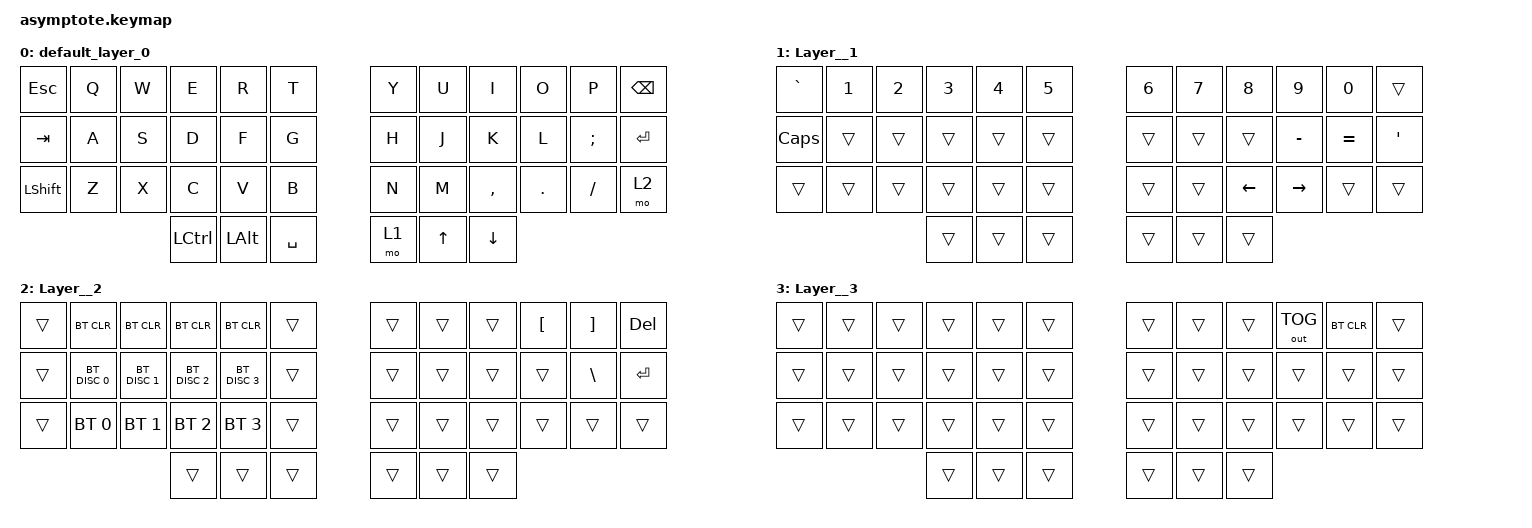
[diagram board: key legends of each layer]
/*
 * Copyright (c) 2020 The ZMK Contributors
 *
 * SPDX-License-Identifier: MIT
 */

#include <behaviors.dtsi>
#include <dt-bindings/zmk/keys.h>
#include <dt-bindings/zmk/bt.h>
#include <dt-bindings/zmk/outputs.h>

&mt {
    tapping-term-ms = <200>;
};

&lt {
    quick-tap-ms = <400>;
};

/ {
    combos {
        compatible = "zmk,combos";

        combo_LLGUI {
            timeout-ms = <50>;
            key-positions = <36 37>;
            bindings = <&kp LGUI>;
        };

        combo_RLGUI {
            timeout-ms = <50>;
            key-positions = <40 41>;
            bindings = <&kp LGUI>;
        };
    };
};

/ {
    keymap {
        compatible = "zmk,keymap";

        default_layer_0 {
            bindings = <
                &kp ESC    &kp Q     &kp W      &kp E     &kp R     &kp T  &kp Y  &kp U  &kp I      &kp O    &kp P          &kp BSPC
                &kp TAB    &kp A     &kp S      &kp D     &kp F     &kp G  &kp H  &kp J  &kp K      &kp L    &kp SEMICOLON  &kp RETURN
                &kp LSHFT  &kp Z     &kp X      &kp C     &kp V     &kp B  &kp N  &kp M  &kp COMMA  &kp DOT  &kp SLASH      &mo 2
                &kp LCTRL  &kp LALT  &kp SPACE  &mo 1     &kp UP    &kp DOWN
            >;
        };

        Layer__1 {
            bindings = <
                &kp GRAVE  &kp N1  &kp N2  &kp N3  &kp N4  &kp N5  &kp N6  &kp N7  &kp N8    &kp N9     &kp N0     &trans
                &kp CAPS   &trans  &trans  &trans  &trans  &trans  &trans  &trans  &trans    &kp MINUS  &kp EQUAL  &kp SQT
                &trans     &trans  &trans  &trans  &trans  &trans  &trans  &trans  &kp LEFT  &kp RIGHT  &trans     &trans
                &trans     &trans  &trans  &trans  &trans  &trans
            >;
        };

        Layer__2 {
            bindings = <
                &trans  &bt BT_CLR     &bt BT_CLR     &bt BT_CLR     &bt BT_CLR     &trans  &trans  &trans  &trans  &kp LBKT  &kp RBKT  &kp DEL
                &trans  &bt BT_DISC 0  &bt BT_DISC 1  &bt BT_DISC 2  &bt BT_DISC 3  &trans  &trans  &trans  &trans  &trans    &kp BSLH  &kp RETURN
                &trans  &bt BT_SEL 0   &bt BT_SEL 1   &bt BT_SEL 2   &bt BT_SEL 3   &trans  &trans  &trans  &trans  &trans    &trans    &trans
                &trans  &trans         &trans         &trans         &trans         &trans
            >;
        };

        Layer__3 {
            bindings = <
                &trans  &trans  &trans  &trans  &trans  &trans  &trans  &trans  &trans  &out OUT_TOG  &bt BT_CLR  &trans
                &trans  &trans  &trans  &trans  &trans  &trans  &trans  &trans  &trans  &trans        &trans  &trans
                &trans  &trans  &trans  &trans  &trans  &trans  &trans  &trans  &trans  &trans        &trans  &trans
                &trans  &trans  &trans  &trans  &trans  &trans
            >;
        };
    };
};
